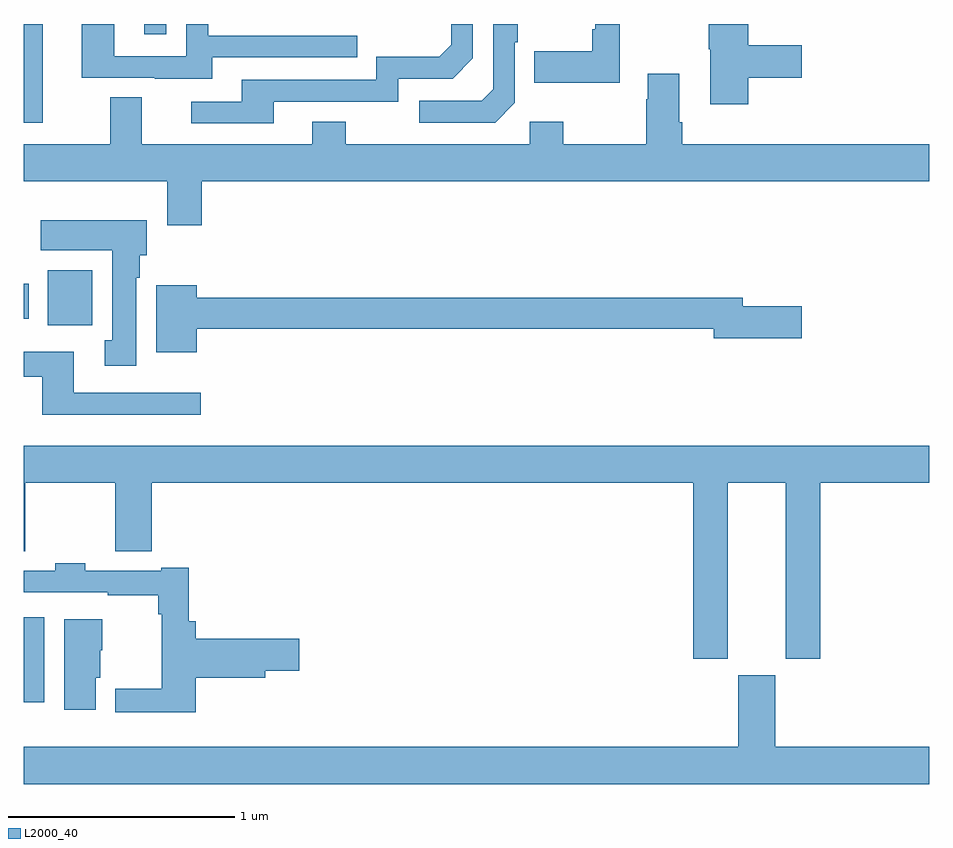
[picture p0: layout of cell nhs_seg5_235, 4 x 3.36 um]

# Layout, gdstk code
import gdstk
lib = gdstk.Library(unit=1e-6, precision=1e-09)
def R(c, l, rs):  # rectangles x0, y0, x1, y1
    for r in rs: c.add(gdstk.rectangle(r[:2], r[2:], *l))
def P(c, l, *ps):  # polygons
    for p in ps: c.add(gdstk.Polygon(p, *l))
L2000_40 = (2000, 40)

nhs_seg5_235 = lib.new_cell('nhs_seg5_235')
R(nhs_seg5_235, L2000_40, [(125,843.801,125.089,844.177), (125.105,845.468,125.302,845.71), (125,845.496,125.02,845.652), (125,846.363,125.083,846.799), (125.531,846.753,125.628,846.799)])
P(nhs_seg5_235, L2000_40, [(127.633,846.799),(127.524,846.799),(127.524,846.775),(127.512,846.775),(127.512,846.679),(127.255,846.679),(127.255,846.539),(127.633,846.539)],
  [(128.201,846.562),(128.437,846.562),(128.437,846.704),(128.201,846.704),(128.201,846.799),(128.026,846.799),(128.026,846.687),(128.033,846.687),(128.033,846.444),(128.201,846.444)],
  [(127.17,846.45),(127.17,846.719),(127.183,846.719),(127.183,846.799),(127.074,846.799),(127.074,846.51),(127.023,846.459),(126.747,846.459),(126.747,846.363),(127.083,846.363)],
  [(125.833,846.651),(126.473,846.651),(126.473,846.747),(125.814,846.747),(125.814,846.799),(125.718,846.799),(125.718,846.657),(125.4,846.657),(125.4,846.799),(125.255,846.799),(125.255,846.561),(125.579,846.561),(125.579,846.557),(125.833,846.557)],
  [(126.103,846.456),(126.654,846.456),(126.654,846.558),(126.894,846.558),(126.984,846.648),(126.984,846.799),(126.888,846.799),(126.888,846.708),(126.835,846.655),(126.558,846.655),(126.558,846.552),(125.963,846.552),(125.963,846.456),(125.739,846.456),(125.739,846.36),(126.103,846.36)],
  [(129,846.268),(127.91,846.268),(127.91,846.364),(127.897,846.364),(127.897,846.58),(127.757,846.58),(127.757,846.467),(127.75,846.467),(127.75,846.268),(127.383,846.268),(127.383,846.367),(127.236,846.367),(127.236,846.268),(126.423,846.268),(126.423,846.367),(126.275,846.367),(126.275,846.268),(125.521,846.268),(125.521,846.476),(125.381,846.476),(125.381,846.268),(125,846.268),(125,846.104),(125.633,846.104),(125.633,845.91),(125.786,845.91),(125.786,846.104),(129,846.104)],
  [(125.497,845.678),(125.512,845.678),(125.512,845.778),(125.542,845.778),(125.542,845.932),(125.073,845.932),(125.073,845.798),(125.39,845.798),(125.39,845.402),(125.357,845.402),(125.357,845.289),(125.497,845.289)],
  [(125.764,845.452),(128.048,845.452),(128.048,845.41),(128.437,845.41),(128.437,845.552),(128.176,845.552),(128.176,845.588),(125.764,845.588),(125.764,845.644),(125.585,845.644),(125.585,845.348),(125.764,845.348)],
  [(125.782,845.169),(125.221,845.169),(125.221,845.35),(125,845.35),(125,845.241),(125.081,845.241),(125.081,845.072),(125.782,845.072)],
  [(128.11,844.772),(128.366,844.772),(128.366,843.993),(128.519,843.993),(128.519,844.772),(129,844.772),(129,844.936),(125,844.936),(125,844.468),(125.006,844.468),(125.006,844.772),(125.404,844.772),(125.404,844.468),(125.564,844.468),(125.564,844.772),(127.958,844.772),(127.958,843.993),(128.11,843.993)],
  [(125.759,843.91),(126.067,843.91),(126.067,843.94),(126.217,843.94),(126.217,844.082),(125.759,844.082),(125.759,844.159),(125.729,844.159),(125.729,844.396),(125.606,844.396),(125.606,844.383),(125.271,844.383),(125.271,844.416),(125.139,844.416),(125.139,844.383),(125,844.383),(125,844.287),(125.371,844.287),(125.371,844.275),(125.593,844.275),(125.593,844.19),(125.608,844.19),(125.608,843.86),(125.403,843.86),(125.403,843.758),(125.759,843.758)],
  [(125.317,843.909),(125.338,843.909),(125.338,844.032),(125.347,844.032),(125.347,844.168),(125.177,844.168),(125.177,843.768),(125.317,843.768)],
  [(129,843.604),(128.32,843.604),(128.32,843.921),(128.156,843.921),(128.156,843.604),(125,843.604),(125,843.44),(129,843.44)])

lib.write_gds('nhs_seg5_235.gds')
